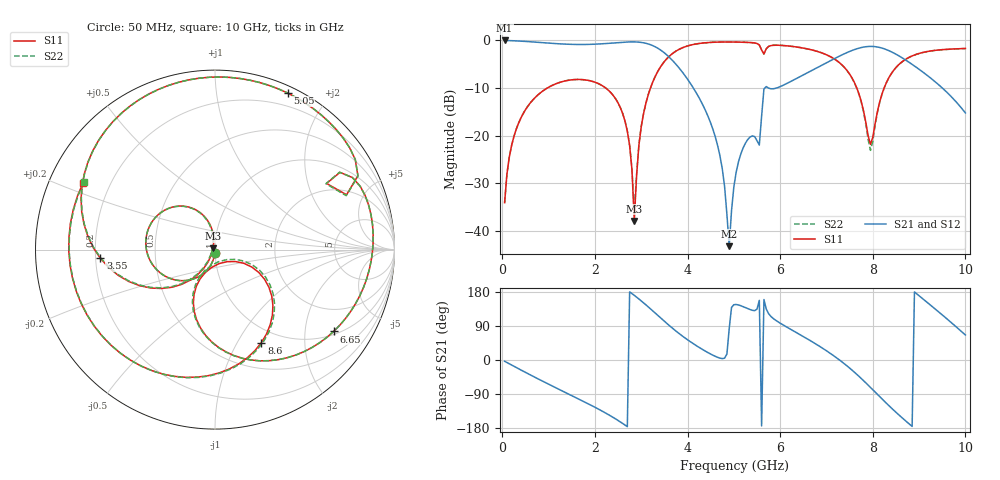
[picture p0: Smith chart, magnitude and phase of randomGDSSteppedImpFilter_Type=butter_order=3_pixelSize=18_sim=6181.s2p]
! freq	dB(S11)	phase(S11)	dB(S12)	phase(S12)
!  dB(S21)	phase(S21)	dB(S22)	phase(S22)
!S-par simulation data
#  GHz  S  DB  R 50
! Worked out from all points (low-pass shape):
!   200 points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, 50 MHz to 10 GHz, reference 50 ohm
!   highest |S21| = 0.00 dB at 50 MHz (marker M1); lowest = -43.2 dB at 4.9 GHz (marker M2)
!   |S21| within 3 dB of the highest: start of sweep to 3.548 GHz; 7.341 GHz to 8.522 GHz (1.181 GHz wide, 14.9 % of centre)
!   lowest |S11| = -37.9 dB at 2.85 GHz (marker M3), VSWR 1.03, Z = 48.9 + j0.614 ohm
!   |S11| at or under -10 dB: start of sweep to 969.3 MHz; 2.235 GHz to 3.199 GHz (964.2 MHz wide, 35.5 % of centre); 7.655 GHz to 8.244 GHz (589 MHz wide, 7.41 % of centre)
!   |S22| runs from -36.0 to -0.3 dB; largest |S21 - S12| = 0
!   S11 on the Smith chart (normalised r, x): 50 MHz: 1.00, -0.04; 3.55 GHz: 0.22, -0.04; 5.05 GHz: 0.07, +1.56; 6.65 GHz: 1.10, -2.83; 8.6 GHz: 0.81, -1.27; 10 GHz: 0.10, +0.24
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0.05  -34.04 -93.4  -0.00 -3.3  -0.00 -3.3  -34.04 -93.4
0.5  -14.55 -123.3  -0.21 -32.6  -0.21 -32.6  -14.55 -123.2
1.75  -8.23 160.7  -0.85 -109.0  -0.85 -109.0  -8.23 160.8
2.6  -15.35 104.6  -0.37 -167.5  -0.37 -167.5  -15.34 105.4
2.75  -22.07 96.6  -0.30 179.7  -0.30 179.7  -22.01 98.6
2.85  -37.86 150.6  -0.30 170.6  -0.30 170.6  -36.00 153.9
3  -18.11 -121.1  -0.41 156.0  -0.41 156.0  -18.09 -122.8
3.4  -5.80 -159.8  -1.89 113.1  -1.89 113.1  -5.80 -160.3
3.55  -3.87 -175.7  -3.02 96.8  -3.02 96.8  -3.87 -176.1
4.55  -0.38 98.7  -18.71 12.5  -18.71 12.5  -0.38 98.5
4.9  -0.32 75.0  -43.17 82.6  -43.17 82.6  -0.32 74.8
5.05  -0.34 65.1  -27.66 146.5  -27.66 146.5  -0.34 65.0
5.55  -0.95 27.4  -21.95 157.4  -21.95 157.4  -0.96 27.1
5.65  -2.82 30.6  -10.15 159.6  -10.15 159.6  -2.87 30.7
6.65  -1.90 -34.6  -6.47 51.2  -6.47 51.2  -1.91 -34.6
6.7  -2.02 -38.1  -6.21 47.5  -6.21 47.5  -2.02 -38.1
7.45  -6.38 -96.4  -2.52 -16.2  -2.52 -16.2  -6.41 -96.9
7.95  -21.81 -73.0  -1.25 -72.3  -1.25 -72.3  -23.07 -72.4
8.35  -7.77 -39.3  -2.15 -120.7  -2.15 -120.7  -7.80 -37.3
8.6  -4.74 -63.5  -3.44 -148.9  -3.44 -148.9  -4.75 -62.1
9.2  -2.29 -122.6  -7.52 149.4  -7.52 149.4  -2.30 -121.9
10  -1.68 153.2  -15.21 66.0  -15.21 66.0  -1.70 152.6
